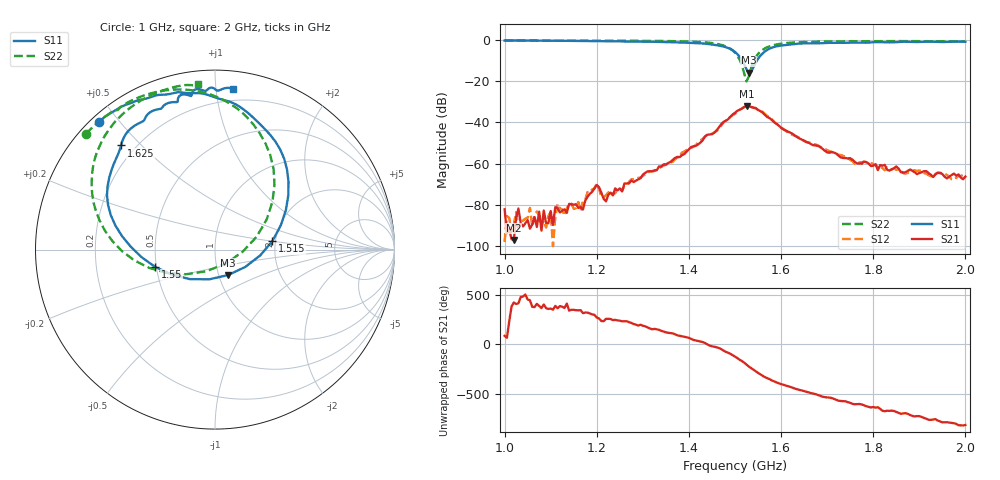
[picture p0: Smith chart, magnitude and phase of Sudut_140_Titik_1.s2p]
# Hz S RI R 50
! CMT, C1220, 16058040, 17.2.0/1
! Date: 14/08/2018 12:55:55
! Data: Format (Calibration Info)
! Freq  S11: Re/Im (F2)  S21: Re/Im (F2)  S12: Re/Im (F2)  S22: Re/Im (F2)
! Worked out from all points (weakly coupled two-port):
!   201 points, 1 GHz to 2 GHz, reference 50 ohm
!   highest |S21| = -31.95 dB at 1.525 GHz (marker M1); lowest = -96.9 dB at 1.02 GHz (marker M2)
!   lowest |S11| = -15.9 dB at 1.53 GHz (marker M3), VSWR 1.38, Z = 55.4 - j16.1 ohm
!   |S11| at or under -10 dB: 1.515 GHz to 1.548 GHz (32.4 MHz wide, 2.12 % of centre)
!   |S22| runs from -20.1 to -0.3 dB; largest |S21 - S12| = 0.0011
!   S11 on the Smith chart (normalised r, x): 1 GHz: 0.02, +0.44; 1.515 GHz: 1.92, +0.20; 1.55 GHz: 0.49, -0.11; 1.625 GHz: 0.15, +0.44; 2 GHz: 0.12, +1.11
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1e9  -0.6464 0.7135  6.85e-06 7.9e-05  -1.23e-05 4.06e-06  -0.719 0.6457
1.02e9  -0.6251 0.7301  6.85e-06 1.25e-05  2.28e-05 2.53e-05  -0.7047 0.66
1.17e9  -0.4556 0.8218  5.42e-05 -5.66e-05  0.000127 -6.02e-06  -0.5767 0.7657
1.2e9  -0.4105 0.8361  -3e-06 -0.000307  -5.41e-06 -0.000332  -0.543 0.7776
1.21e9  -0.3969 0.8386  -0.000116 -0.000161  -8.58e-05 -0.000131  -0.5382 0.7813
1.22e9  -0.3816 0.8421  -2.8e-05 -0.00012  -7.18e-05 -0.000158  -0.5307 0.7909
1.24e9  -0.3475 0.8529  -0.000105 -0.000232  -8.19e-05 -0.000177  -0.5076 0.8075
1.255e9  -0.3243 0.8604  -0.000135 -0.000168  -0.000115 -0.000189  -0.488 0.8186
1.26e9  -0.3166 0.8616  -0.000209 -0.000261  -0.000176 -0.000231  -0.4812 0.8225
1.335e9  -0.1765 0.8738  -0.000709 0.00049  -0.000595 0.000514  -0.3598 0.8698
1.45e9  0.2034 0.7442  0.00486 -0.00185  0.00486 -0.00217  0.0461 0.8337
1.5e9  0.4087 0.304  -0.00988 -0.0141  -0.0093 -0.0133  0.3315 0.3619
1.515e9  0.3194 0.0466  -0.0213 -0.0037  -0.0214 -0.00433  0.2321 0.072
1.525e9  0.1693 -0.0963  -0.0229 0.0108  -0.0231 0.0107  0.0605 -0.0775
1.53e9  0.0732 -0.1418  -0.0172 0.0174  -0.0174 0.0174  -0.0489 -0.1209
1.55e9  -0.3338 -0.0962  0.0068 0.019  0.00609 0.0192  -0.4511 -0.059
1.58e9  -0.5959 0.2483  0.0114 -0.00108  0.0118 -0.00161  -0.6775 0.2657
1.625e9  -0.5234 0.5802  0.000874 -0.00526  0.00098 -0.00491  -0.6493 0.5625
1.67e9  -0.4065 0.7119  -0.00211 -0.00185  -0.00224 -0.00199  -0.5661 0.7011
1.76e9  -0.2445 0.8205  -0.000442 0.00101  -0.000448 0.000898  -0.4203 0.8256
1.835e9  -0.1338 0.8555  0.000459 0.000507  0.000557 0.000576  -0.3149 0.8782
2e9  0.0999 0.8922  -4.69e-05 -0.000489  -9.23e-05 -0.000537  -0.0974 0.9224
